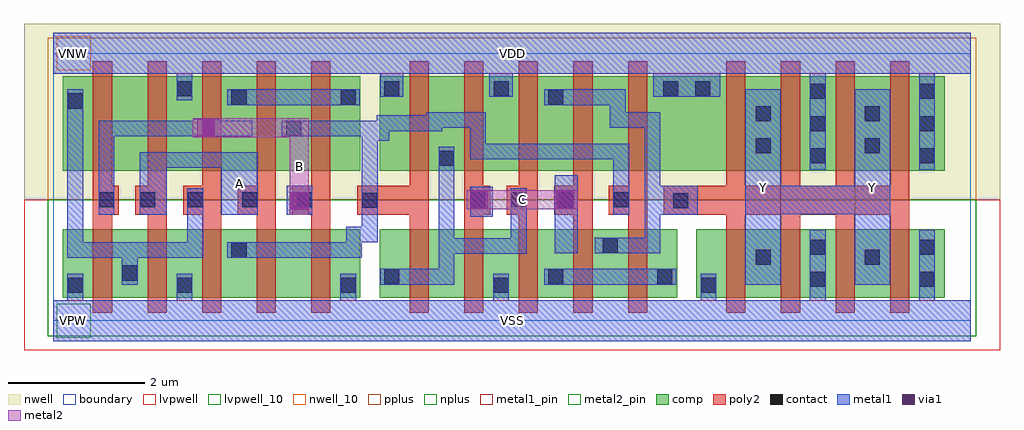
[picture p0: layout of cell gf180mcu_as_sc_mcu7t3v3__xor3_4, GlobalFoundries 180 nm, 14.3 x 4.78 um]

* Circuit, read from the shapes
.subckt gf180mcu_as_sc_mcu7t3v3__xor3_4 A B C VDD VNW VSS Y
XM1 n1 B VSS VSUBS nfet_03v3 w=1u l=0.28u
XM2 VSS A n1 VSUBS nfet_03v3 w=1u l=0.28u
XM3 n2 n1 VSS VSUBS nfet_03v3 w=1u l=0.28u
XM4 n3 A n2 VSUBS nfet_03v3 w=1u l=0.28u
XM5 VSS B n3 VSUBS nfet_03v3 w=1u l=0.28u
XM6 n4 n2 n5 VSUBS nfet_03v3 w=1u l=0.28u
XM7 VSS C n4 VSUBS nfet_03v3 w=1u l=0.28u
XM8 n6 n5 VSS VSUBS nfet_03v3 w=1u l=0.28u
XM9 n7 C n6 VSUBS nfet_03v3 w=1u l=0.28u
XM10 n6 n2 n7 VSUBS nfet_03v3 w=1u l=0.28u
XM11 Y n7 VSS VSUBS nfet_03v3 w=1u l=0.28u m=4
XM12 n8 B n1 VNW pfet_03v3 w=1.38u l=0.28u
XM13 VDD A n8 VNW pfet_03v3 w=1.38u l=0.28u
XM14 n9 n1 VDD VNW pfet_03v3 w=1.38u l=0.28u
XM15 n2 A n9 VNW pfet_03v3 w=1.38u l=0.28u
XM16 n9 B n2 VNW pfet_03v3 w=1.38u l=0.28u
XM17 n5 n2 VDD VNW pfet_03v3 w=1.38u l=0.28u
XM18 VDD C n5 VNW pfet_03v3 w=1.38u l=0.28u
XM19 n7 n5 VDD VNW pfet_03v3 w=1.38u l=0.28u
XM20 n10 C n7 VNW pfet_03v3 w=1.38u l=0.28u
XM21 VDD n2 n10 VNW pfet_03v3 w=1.38u l=0.28u
XM22 Y n7 VDD VNW pfet_03v3 w=1.38u l=0.28u m=4
.ends

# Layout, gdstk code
import gdstk
lib = gdstk.Library(unit=1e-6, precision=1e-09)
def R(c, l, rs):  # rectangles x0, y0, x1, y1
    for r in rs: c.add(gdstk.rectangle(r[:2], r[2:], *l))
def A(c, l, x, y, w, h, nx, ny, dx, dy):  # array of equal rectangles
    R(c, l, [(x+i*dx, y+j*dy, x+i*dx+w, y+j*dy+h) for i in range(nx) for j in range(ny)])
boundary = (0, 0)
nwell = (21, 0)
nwell_10 = (21, 10)
comp = (22, 0)
poly2 = (30, 0)
pplus = (31, 0)
nplus = (32, 0)
contact = (33, 0)
metal1 = (34, 0)
metal1_pin = (34, 10)
via1 = (35, 0)
metal2 = (36, 0)
metal2_pin = (36, 10)
lvpwell = (204, 0)
lvpwell_10 = (204, 10)

gf180mcu_as_sc_mcu7t3v3_ = lib.new_cell('gf180mcu_as_sc_mcu7t3v3__xor3_4')
R(gf180mcu_as_sc_mcu7t3v3_, boundary, [(0,0,13.44,3.92)])
R(gf180mcu_as_sc_mcu7t3v3_, nwell, [(-0.43,1.77,13.87,4.35)])
R(gf180mcu_as_sc_mcu7t3v3_, nwell_10, [(0.05,3.67,0.55,4.17)])
R(gf180mcu_as_sc_mcu7t3v3_, comp, [(0.14,0.34,4.5,1.34), (4.78,0.34,9.14,1.34), (9.42,0.34,13.06,1.34), (0.14,2.2,4.5,3.58), (4.78,2.2,13.06,3.58)])
A(gf180mcu_as_sc_mcu7t3v3_, poly2, 0.58, 0.12, 0.28, 1.43, 5, 1, 0.8, 0)
A(gf180mcu_as_sc_mcu7t3v3_, poly2, 5.22, 0.12, 0.28, 1.43, 5, 1, 0.8, 0)
A(gf180mcu_as_sc_mcu7t3v3_, poly2, 9.86, 0.12, 0.28, 1.43, 4, 1, 0.8, 0)
A(gf180mcu_as_sc_mcu7t3v3_, poly2, 1.9, 1.55, 0.56, 0.43, 3, 1, 0.8, 0)
A(gf180mcu_as_sc_mcu7t3v3_, poly2, 0.58, 1.98, 0.28, 1.82, 5, 1, 0.8, 0)
A(gf180mcu_as_sc_mcu7t3v3_, poly2, 5.22, 1.98, 0.28, 1.82, 5, 1, 0.8, 0)
A(gf180mcu_as_sc_mcu7t3v3_, poly2, 9.86, 1.98, 0.28, 1.82, 4, 1, 0.8, 0)
R(gf180mcu_as_sc_mcu7t3v3_, poly2, [(0.58,1.55,0.96,1.98), (1.2,1.55,1.66,1.98), (4.455,1.55,5.5,1.98), (6.02,1.55,6.4,1.98), (6.64,1.55,7.1,1.98), (7.34,1.55,7.9,1.98), (8.14,1.55,8.7,1.98), (8.94,1.55,12.54,1.98)])
R(gf180mcu_as_sc_mcu7t3v3_, pplus, [(-0.08,1.77,13.52,4.15)])
R(gf180mcu_as_sc_mcu7t3v3_, nplus, [(-0.08,-0.23,13.52,1.77)])
A(gf180mcu_as_sc_mcu7t3v3_, contact, 1.97, 1.665, 0.22, 0.22, 3, 1, 0.8, 0)
A(gf180mcu_as_sc_mcu7t3v3_, contact, 11.09, 2.31, 0.22, 0.22, 1, 3, 0, 0.47)
A(gf180mcu_as_sc_mcu7t3v3_, contact, 12.69, 2.31, 0.22, 0.22, 1, 3, 0, 0.47)
R(gf180mcu_as_sc_mcu7t3v3_, contact, [(0.21,0.41,0.43,0.63), (1.81,0.41,2.03,0.63), (4.21,0.41,4.43,0.63), (6.45,0.41,6.67,0.63), (9.49,0.41,9.71,0.63), (11.09,0.495,11.31,0.715), (12.69,0.495,12.91,0.715), (4.85,0.535,5.07,0.755), (7.25,0.535,7.47,0.755), (8.85,0.535,9.07,0.755), (1.01,0.59,1.23,0.81), (10.29,0.82,10.51,1.04), (11.89,0.82,12.11,1.04), (2.61,0.925,2.83,1.145), (11.09,0.965,11.31,1.185), (12.69,0.965,12.91,1.185), (8.05,0.995,8.27,1.215), (9.085,1.65,9.305,1.87), (4.525,1.655,4.745,1.875), (0.67,1.665,0.89,1.885), (1.27,1.665,1.49,1.885), (6.11,1.665,6.33,1.885), (6.71,1.665,6.93,1.885), (7.41,1.665,7.63,1.885), (8.21,1.665,8.43,1.885), (5.65,2.27,5.87,2.49), (10.29,2.455,10.51,2.675), (11.89,2.455,12.11,2.675), (3.41,2.705,3.63,2.925), (10.29,2.925,10.51,3.145), (11.89,2.925,12.11,3.145), (0.21,3.11,0.43,3.33), (2.61,3.165,2.83,3.385), (4.21,3.165,4.43,3.385), (7.25,3.165,7.47,3.385), (1.81,3.29,2.03,3.51), (4.85,3.29,5.07,3.51), (6.45,3.29,6.67,3.51), (8.935,3.29,9.155,3.51), (9.405,3.29,9.625,3.51)])
R(gf180mcu_as_sc_mcu7t3v3_, metal1, [(0,-0.3,13.44,0.3), (0.205,0.3,0.435,0.69), (1.805,0.3,2.035,0.69), (4.205,0.3,4.435,0.69), (6.445,0.3,6.675,0.69), (9.485,0.3,9.715,0.69), (11.085,0.3,11.315,1.33), (12.685,0.3,12.915,1.33), (1.005,0.53,1.235,0.92), (4.79,0.53,5.875,0.76), (7.19,0.53,9.13,0.76), (10.14,0.53,10.66,1.56), (11.74,0.53,12.26,1.56), (5.645,0.76,5.875,0.98), (0.205,0.92,2.195,1.15), (2.55,0.92,4.52,1.15), (5.645,0.98,6.935,1.21), (7.35,0.99,7.68,2.135), (7.93,0.99,8.895,1.22), (0.205,1.15,0.435,3.39), (1.965,1.15,2.195,1.945), (4.29,1.15,4.75,1.38), (5.645,1.21,5.875,2.55), (6.705,1.21,6.935,1.945), (8.665,1.22,8.895,1.55), (4.52,1.38,4.75,2.64), (6.105,1.525,6.435,1.965), (0.665,1.55,0.895,2.7), (1.265,1.55,1.66,2.24), (2.46,1.55,2.995,2.24), (3.42,1.55,3.795,1.98), (8.205,1.55,8.435,2.365), (8.665,1.55,9.445,1.98), (10.14,1.56,12.26,1.98), (8.665,1.98,8.895,2.825), (10.14,1.98,10.66,3.39), (11.74,1.98,12.26,3.39), (11.085,2.21,11.315,3.62), (12.685,2.21,12.915,3.62), (1.265,2.24,2.995,2.47), (6.105,2.365,8.435,2.595), (6.105,2.595,6.335,2.825), (4.52,2.64,4.92,2.7), (0.665,2.7,2.915,2.93), (3.35,2.7,4.92,2.78), (3.35,2.78,5.695,2.825), (3.35,2.825,6.335,2.93), (8.155,2.825,8.895,3.055), (2.045,2.93,2.425,2.96), (4.74,2.93,6.335,3.01), (5.465,3.01,6.335,3.055), (8.155,3.055,8.385,3.16), (2.55,3.16,4.49,3.39), (7.19,3.16,8.385,3.39), (1.805,3.23,2.035,3.62), (4.79,3.285,5.13,3.62), (6.39,3.285,6.73,3.62), (8.79,3.285,9.77,3.62), (0,3.62,13.44,4.22)])
R(gf180mcu_as_sc_mcu7t3v3_, metal1_pin, [(0,-0.3,13.44,0.3), (10.14,0.53,10.66,3.39), (11.74,0.53,12.26,3.39), (2.46,1.55,2.995,2.47), (0,3.62,13.44,4.22)])
R(gf180mcu_as_sc_mcu7t3v3_, via1, [(3.475,1.625,3.735,1.885), (6.115,1.645,6.375,1.905), (7.365,1.645,7.625,1.905), (2.105,2.7,2.365,2.96)])
R(gf180mcu_as_sc_mcu7t3v3_, metal2, [(3.465,1.55,3.745,2.69), (6.055,1.635,7.685,1.915), (2.045,2.69,3.745,2.97)])
R(gf180mcu_as_sc_mcu7t3v3_, metal2_pin, [(3.465,1.55,3.745,2.97), (6.055,1.635,7.685,1.915)])
R(gf180mcu_as_sc_mcu7t3v3_, lvpwell, [(-0.43,-0.43,13.87,1.77)])
R(gf180mcu_as_sc_mcu7t3v3_, lvpwell_10, [(0.05,-0.25,0.55,0.25)])
gf180mcu_as_sc_mcu7t3v3_.add(gdstk.Label('VDD', (6.72,3.92), layer=34, texttype=10))
gf180mcu_as_sc_mcu7t3v3_.add(gdstk.Label('VSS', (6.72,0), layer=34, texttype=10))
gf180mcu_as_sc_mcu7t3v3_.add(gdstk.Label('Y', (12,1.96), layer=34, texttype=10))
gf180mcu_as_sc_mcu7t3v3_.add(gdstk.Label('Y', (10.4,1.96), layer=34, texttype=10))
gf180mcu_as_sc_mcu7t3v3_.add(gdstk.Label('A', (2.727,2.01), layer=34, texttype=10))
gf180mcu_as_sc_mcu7t3v3_.add(gdstk.Label('VNW', (0.3,3.92), layer=21, texttype=10))
gf180mcu_as_sc_mcu7t3v3_.add(gdstk.Label('VPW', (0.3,0), layer=204, texttype=10))
gf180mcu_as_sc_mcu7t3v3_.add(gdstk.Label('B', (3.605,2.26), layer=36, texttype=10))
gf180mcu_as_sc_mcu7t3v3_.add(gdstk.Label('C', (6.87,1.775), layer=36, texttype=10))

lib.write_gds('gf180mcu_as_sc_mcu7t3v3__xor3_4.gds')
